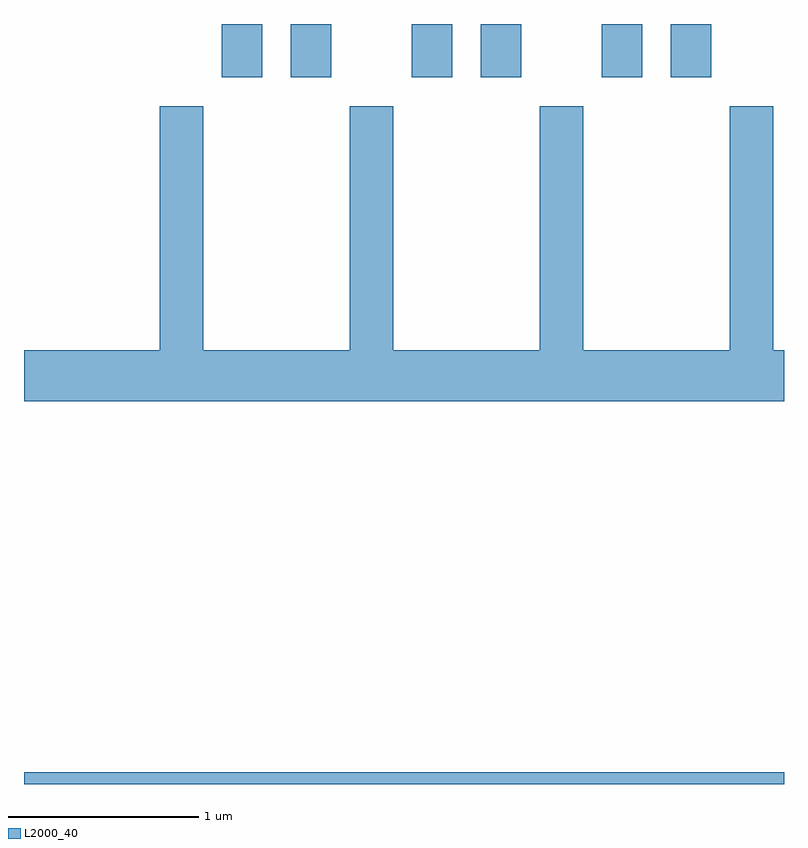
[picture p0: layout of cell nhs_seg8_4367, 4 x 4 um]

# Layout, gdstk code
import gdstk
lib = gdstk.Library(unit=1e-6, precision=1e-09)
def R(c, l, rs):  # rectangles x0, y0, x1, y1
    for r in rs: c.add(gdstk.rectangle(r[:2], r[2:], *l))
def P(c, l, *ps):  # polygons
    for p in ps: c.add(gdstk.Polygon(p, *l))
L2000_40 = (2000, 40)

nhs_seg8_4367 = lib.new_cell('nhs_seg8_4367')
R(nhs_seg8_4367, L2000_40, [(315.611,1894.342,319.611,1894.404), (316.651,1898.061,316.864,1898.342), (317.016,1898.061,317.229,1898.342), (317.651,1898.061,317.864,1898.342), (318.016,1898.061,318.229,1898.342), (318.651,1898.061,318.864,1898.342), (319.016,1898.061,319.229,1898.342)])
P(nhs_seg8_4367, L2000_40, [(319.611,1896.624),(319.554,1896.624),(319.554,1897.909),(319.326,1897.909),(319.326,1896.624),(318.554,1896.624),(318.554,1897.909),(318.326,1897.909),(318.326,1896.624),(317.554,1896.624),(317.554,1897.909),(317.326,1897.909),(317.326,1896.624),(316.554,1896.624),(316.554,1897.909),(316.326,1897.909),(316.326,1896.624),(315.611,1896.624),(315.611,1896.356),(319.611,1896.356)])

lib.write_gds('nhs_seg8_4367.gds')
